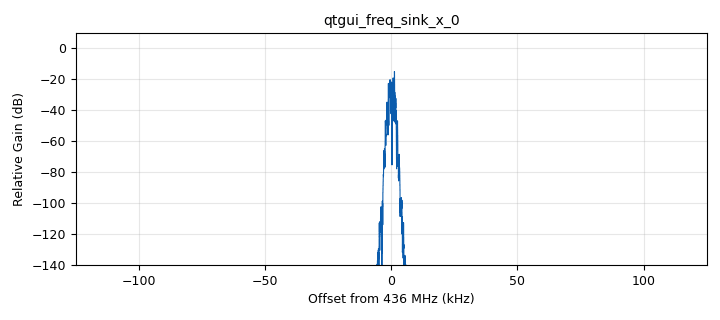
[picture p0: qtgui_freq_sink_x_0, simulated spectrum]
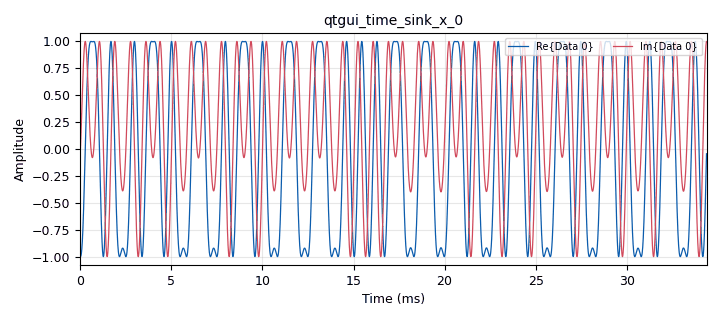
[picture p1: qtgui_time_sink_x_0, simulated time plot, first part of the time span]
options:
  parameters:
    generate_options: qt_gui
    id: TransmissionTest
    output_language: python
    title: Not titled yet
  states: {}

blocks:
- name: bitrate
  id: variable
  parameters:
    value: '1200'
  states: {}
- name: samp_rate
  id: variable
  parameters:
    value: '250000'
  states: {}
- name: sps
  id: variable
  parameters:
    value: int(samp_rate/bitrate)
  states: {}
- name: analog_agc_xx_0
  id: analog_agc_xx
  parameters:
    gain: '1.0'
    max_gain: '65536'
    rate: '5e-3'
    reference: '1.0'
    type: complex
  states: {state: disabled}
- name: analog_agc_xx_1
  id: analog_agc_xx
  parameters:
    gain: '1.0'
    max_gain: '65536'
    rate: '1e-3'
    reference: '1.0'
    type: complex
  states: {state: disabled}
- name: analog_agc_xx_2
  id: analog_agc_xx
  parameters:
    gain: '1.0'
    max_gain: '65536'
    rate: '1e-3'
    reference: '1.0'
    type: complex
  states: {}
- name: analog_const_source_x_0
  id: analog_const_source_x
  parameters:
    const: '50'
    type: complex
  states: {state: disabled}
- name: blocks_delay_0
  id: blocks_delay
  parameters:
    delay: '1000'
    type: complex
  states: {}
- name: blocks_file_sink_0
  id: blocks_file_sink
  parameters:
    file: D:\GNURADIO_THESIS_MASTER\CorrelationwithDelfiBoard\SentSignals
    type: complex
  states: {}
- name: blocks_file_sink_0_0
  id: blocks_file_sink
  parameters:
    file: D:\GNURADIO_THESIS_MASTER\CorrelationwithDelfiBoard\ReceivedSignals
    type: complex
  states: {}
- name: blocks_file_sink_0_0_0
  id: blocks_file_sink
  parameters:
    file: D:\GNURADIO_THESIS_MASTER\CorrelationwithDelfiBoard\demodSignals
    type: byte
  states: {}
- name: blocks_file_sink_0_0_0_0
  id: blocks_file_sink
  parameters:
    file: D:\GNURADIO_THESIS_MASTER\CorrelationwithDelfiBoard\sentSignalbyte
    type: byte
  states: {}
- name: blocks_freqshift_cc_0
  id: blocks_freqshift_cc
  parameters:
    freq: '0'
    sample_rate: samp_rate
  states: {state: disabled}
- name: blocks_head_0
  id: blocks_head
  parameters:
    num_items: '1024'
    type: complex
  states: {state: disabled}
- name: blocks_head_1
  id: blocks_head
  parameters:
    num_items: 250000*4
    type: complex
  states: {state: disabled}
- name: blocks_head_2
  id: blocks_head
  parameters:
    num_items: samp_rate*6
    type: complex
  states: {}
- name: blocks_head_2_0
  id: blocks_head
  parameters:
    num_items: 31*208
    type: complex
  states: {}
- name: blocks_multiply_xx_0
  id: blocks_multiply_xx
  parameters:
    type: complex
  states: {state: disabled}
- name: blocks_throttle2_0
  id: blocks_throttle2
  parameters:
    samples_per_second: samp_rate
    type: byte
  states: {}
- name: blocks_throttle2_0_0
  id: blocks_throttle2
  parameters:
    samples_per_second: samp_rate
    type: byte
  states: {}
- name: blocks_vector_source_x_0
  id: blocks_vector_source_x
  parameters:
    comment: 1 1 11 1
    repeat: 'True'
    type: byte
    vector: (11, 241, 196, 26, 93, 28, 68, 62, 186, 167, 219, 129, 6, 244, 50, 141, 253, 42, 130, 23, 192, 34, 200, 239, 63, 240, 106, 111, 223, 245, 175, 31, 153, 201, 239, 197, 180, 6, 37)
  states: {state: disabled}
- name: blocks_vector_source_x_0_0
  id: blocks_vector_source_x
  parameters:
    comment: 01 01 11 01 non scrambled
    repeat: 'True'
    type: byte
    vector: (1, 1, 1, 1, 75, 68, 139, 36, 172, 211, 80, 172, 219, 33, 75, 51, 76, 81, 213, 95, 170, 213, 45, 42, 139, 245, 110, 179, 192, 64, 64, 64)
  states: {}
- name: blocks_vector_source_x_0_0_0
  id: blocks_vector_source_x
  parameters:
    repeat: 'True'
    type: byte
    vector: (11, 241, 196, 26, 93, 86, 5, 53, 175, 62, 144, 205, 48, 110, 205, 247, 22, 217, 194, 46, 119, 60, 251, 255, 232, 161, 43, 104, 201, 237, 236, 90, 213, 26, 187, 166, 103, 53, 192, 70, 100, 197, 254, 189)
  states: {state: disabled}
- name: blocks_vector_source_x_0_0_1
  id: blocks_vector_source_x
  parameters:
    comment: 01 01 11 01 non scrambled
    repeat: 'True'
    type: byte
    vector: (1, 1, 1, 1, 75, 68, 139, 36, 172, 211, 80, 172, 219, 33, 75, 51, 76, 81, 213, 95, 170, 213, 45, 42, 139, 245, 110, 179, 192, 64, 64, 64)
  states: {}
- name: blocks_vector_source_x_1
  id: blocks_vector_source_x
  parameters:
    comment: 03 01 11 01
    repeat: 'True'
    type: byte
    vector: (11, 241, 196, 26, 93, 86, 5, 53, 175, 62, 218, 140, 59, 123, 84, 246, 27, 228, 77, 72, 70, 155, 62, 37, 46, 108, 222, 168, 161, 0, 244, 67, 141, 183, 55, 8, 129, 217, 112, 81, 84, 176, 135, 15, 140, 192, 181, 212, 184, 30, 98, 86, 171, 254, 85, 165, 207, 49, 171, 61, 217, 252, 204, 141)
  states: {state: disabled}
- name: blocks_vector_source_x_2
  id: blocks_vector_source_x
  parameters:
    comment: 1 1 3 1
    repeat: 'True'
    type: byte
    vector: (11, 241, 196, 26, 93, 28, 68, 62, 186, 167, 219, 129, 6, 244, 50, 141, 253, 42, 130, 23, 192, 34, 200, 215, 60, 14, 44, 3, 76, 181, 237, 132, 174, 8, 55, 7, 235, 125, 194)
  states: {state: disabled}
- name: digital_gfsk_mod_0
  id: digital_gfsk_mod
  parameters:
    bt: '0.5'
    samples_per_symbol: sps
    sensitivity: 2*3.14/sps
  states: {}
- name: digital_gfsk_mod_0_0
  id: digital_gfsk_mod
  parameters:
    bt: '0.5'
    samples_per_symbol: sps
    sensitivity: 2*3.14/sps
  states: {}
- name: digital_gmsk_demod_0
  id: digital_gmsk_demod
  parameters:
    freq_error: '0.0'
    gain_mu: '0.175'
    mu: '0.5'
    omega_relative_limit: '0.005'
    samples_per_symbol: sps
  states: {}
- name: qtgui_freq_sink_x_0
  id: qtgui_freq_sink_x
  parameters:
    bw: samp_rate
    fc: '436000000'
    fftsize: '8192'
    type: complex
  states: {}
- name: qtgui_time_sink_x_0
  id: qtgui_time_sink_x
  parameters:
    size: 63*sps*10
    srate: samp_rate
    type: complex
  states: {}
- name: uhd_usrp_sink_0_0
  id: uhd_usrp_sink
  parameters:
    ant0: TX/RX
    center_freq0: uhd.tune_request(145e6, 5e6)
    clock_rate: '0.0'
    dev_addr: ''
    dev_args: '"type=b200"'
    gain0: '50'
    len_tag_name: ''
    samp_rate: samp_rate
    sync: gps_time
    type: fc32
  states: {state: disabled}
- name: uhd_usrp_source_0
  id: uhd_usrp_source
  parameters:
    ant0: RX2
    center_freq0: uhd.tune_request(436e6, 5e6)
    clock_rate: '0.0'
    dc_offs_enb0: auto
    dev_addr: ''
    dev_args: '"type=b200"'
    gain0: '60'
    iq_imbal_enb0: auto
    otw: sc16
    samp_rate: samp_rate
    sync: gps_time
    type: fc32
  states: {state: disabled}

connections:
- [analog_agc_xx_0, '0', blocks_file_sink_0_0, '0']
- [analog_agc_xx_0, '0', blocks_head_1, '0']
- [analog_agc_xx_1, '0', blocks_head_2, '0']
- [analog_agc_xx_1, '0', qtgui_freq_sink_x_0, '0']
- [analog_agc_xx_1, '0', qtgui_time_sink_x_0, '0']
- [analog_agc_xx_2, '0', blocks_head_2, '0']
- [analog_agc_xx_2, '0', qtgui_freq_sink_x_0, '0']
- [analog_agc_xx_2, '0', qtgui_time_sink_x_0, '0']
- [analog_const_source_x_0, '0', blocks_multiply_xx_0, '1']
- [blocks_delay_0, '0', analog_agc_xx_2, '0']
- [blocks_freqshift_cc_0, '0', blocks_multiply_xx_0, '0']
- [blocks_freqshift_cc_0, '0', qtgui_freq_sink_x_0, '0']
- [blocks_head_1, '0', blocks_file_sink_0_0, '0']
- [blocks_head_2, '0', blocks_file_sink_0_0, '0']
- [blocks_head_2, '0', digital_gmsk_demod_0, '0']
- [blocks_head_2_0, '0', blocks_file_sink_0, '0']
- [blocks_multiply_xx_0, '0', blocks_head_2, '0']
- [blocks_multiply_xx_0, '0', qtgui_freq_sink_x_0, '0']
- [blocks_multiply_xx_0, '0', qtgui_time_sink_x_0, '0']
- [blocks_throttle2_0, '0', digital_gfsk_mod_0, '0']
- [blocks_throttle2_0_0, '0', digital_gfsk_mod_0_0, '0']
- [blocks_vector_source_x_0, '0', digital_gfsk_mod_0, '0']
- [blocks_vector_source_x_0_0, '0', blocks_file_sink_0_0_0_0, '0']
- [blocks_vector_source_x_0_0, '0', blocks_throttle2_0, '0']
- [blocks_vector_source_x_0_0_0, '0', digital_gfsk_mod_0, '0']
- [blocks_vector_source_x_0_0_1, '0', blocks_throttle2_0_0, '0']
- [blocks_vector_source_x_1, '0', digital_gfsk_mod_0, '0']
- [blocks_vector_source_x_2, '0', digital_gfsk_mod_0, '0']
- [digital_gfsk_mod_0, '0', blocks_head_2_0, '0']
- [digital_gfsk_mod_0, '0', uhd_usrp_sink_0_0, '0']
- [digital_gfsk_mod_0_0, '0', blocks_delay_0, '0']
- [digital_gmsk_demod_0, '0', blocks_file_sink_0_0_0, '0']
- [uhd_usrp_source_0, '0', analog_agc_xx_0, '0']
- [uhd_usrp_source_0, '0', analog_agc_xx_1, '0']
- [uhd_usrp_source_0, '0', analog_agc_xx_2, '0']
- [uhd_usrp_source_0, '0', blocks_freqshift_cc_0, '0']
- [uhd_usrp_source_0, '0', blocks_multiply_xx_0, '0']

metadata:
  file_format: 1
  grc_version: 3.10.6.0
